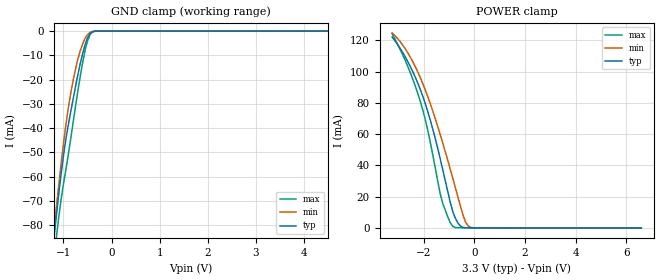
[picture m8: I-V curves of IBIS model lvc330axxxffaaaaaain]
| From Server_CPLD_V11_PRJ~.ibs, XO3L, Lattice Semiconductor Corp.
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[Model]   lvc330axxxffaaaaaain
Model_type   Input
Polarity   Non-Inverting
Enable   Active-Low
Vinl =   0.8000V
Vinh =   2.0000V
C_comp   4.2000pF   3.8000pF   7.5000pF
[Temperature Range]   25.0000   0.1050k   -40.0000
[Voltage Range]   3.3000V   3.1400V   3.4700V
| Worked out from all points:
|   GND clamp passes 1 mA (typ) near -0.44 V on its own axis
|   POWER clamp passes 1 mA (typ) near -0.53 V on its own axis
[GND_clamp]
|Voltage   I(typ)   I(min)   I(max)
-3.3V     -955.2mA   -930.2mA   -977.8mA
-1.2V     -86.07mA   -82.87mA   -94.72mA
-1.15V    -76.63mA   -73.23mA   -85.56mA
-1.1V     -67.6mA    -63.89mA   -77.1mA
-1V       -51.41mA   -46.51mA   -63.05mA
-900mV    -38.77mA   -31.83mA   -51.09mA
-800mV    -28.16mA   -20.53mA   -37.81mA
-700mV    -18.01mA   -11.59mA   -24.66mA
-600mV    -9.192mA   -5.229mA   -12.92mA
-450mV    -1.151mA   -576.6uA   -1.527mA
-300mV    -17.4uA    -15.66uA   -11.6uA
6.6V      0A         0A         0A
[POWER_clamp]
|Voltage   I(typ)   I(min)   I(max)
-3.25V    122.1mA    124.8mA    124.2mA
-2.65V    107.1mA    112.6mA    104.1mA
-2.35V    97.06mA    103.7mA    91.56mA
-2.05V    84.81mA    92.86mA    76.2mA
-1.65V    63.69mA    75.19mA    47.4mA
-1.35V    44.32mA    59.82mA    21.89mA
-1.25V    37.38mA    54.39mA    15.53mA
-850mV    10.3mA     31.63mA    860uA
-650mV    3.168mA    19.76mA    65.53uA
-350mV    73.34uA    3.862mA    3.121uA
-150mV    17.77uA    366.8uA    -28.16uA
6.6V      -143.8uA   -91.66uA   -226.3uA
